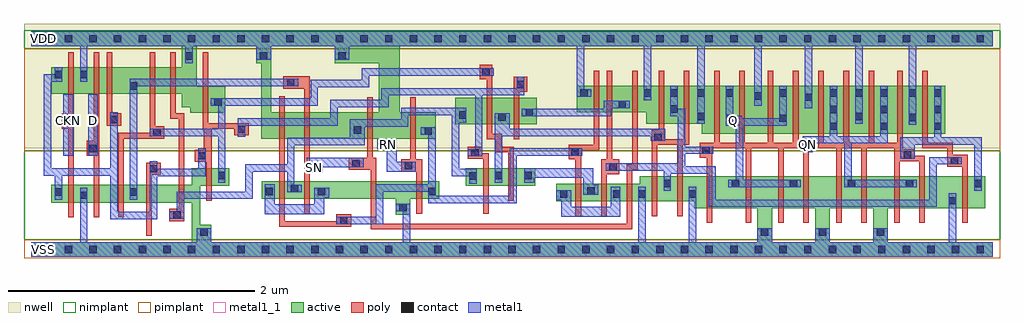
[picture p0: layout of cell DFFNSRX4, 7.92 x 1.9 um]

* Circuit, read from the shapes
.subckt DFFNSRX4 CKN D Q QN RN SN VDD VSS
M1 VSS CKN n1 VSS nfet w=0.145u l=0.045u
M2 n2 D VSS VSS nfet w=0.145u l=0.045u
M3 n3 n4 n2 VSS nfet w=0.145u l=0.045u
M4 n5 n1 n3 VSS nfet w=0.145u l=0.045u
M5 VSS n6 n5 VSS nfet w=0.145u l=0.045u
M6 n4 n1 VSS VSS nfet w=0.145u l=0.045u
M7 n6 n7 n8 VSS nfet w=0.145u l=0.045u
M8 n8 n3 n6 VSS nfet w=0.145u l=0.045u
M9 VSS SN n8 VSS nfet w=0.145u l=0.045u
M10 n7 RN VSS VSS nfet w=0.145u l=0.045u
M11 n9 n1 n6 VSS nfet w=0.145u l=0.045u
M12 n10 n4 n9 VSS nfet w=0.145u l=0.045u
M13 n10 n7 n11 VSS nfet w=0.145u l=0.045u
M14 n11 n12 n10 VSS nfet w=0.145u l=0.045u
M15 VSS SN n11 VSS nfet w=0.145u l=0.045u
M16 n12 n9 VSS VSS nfet w=0.205u l=0.045u m=2
M17 Q n12 VSS VSS nfet w=0.26u l=0.045u m=4
M18 QN n13 VSS VSS nfet w=0.26u l=0.045u m=4
M19 n13 n12 VSS VSS nfet w=0.26u l=0.045u
M20 VDD CKN n1 VDD pfet w=0.215u l=0.045u
M21 n14 D VDD VDD pfet w=0.215u l=0.045u
M22 n3 n1 n14 VDD pfet w=0.215u l=0.045u
M23 n15 n4 n3 VDD pfet w=0.215u l=0.045u
M24 VDD n6 n15 VDD pfet w=0.215u l=0.045u
M25 n4 n1 VDD VDD pfet w=0.215u l=0.045u
M26 n16 n7 VDD VDD pfet w=0.215u l=0.045u
M27 n6 n3 n16 VDD pfet w=0.215u l=0.045u
M28 VDD SN n6 VDD pfet w=0.215u l=0.045u
M29 n7 RN VDD VDD pfet w=0.215u l=0.045u
M30 n9 n4 n6 VDD pfet w=0.215u l=0.045u
M31 n17 n1 n9 VDD pfet w=0.215u l=0.045u
M32 n18 n7 VDD VDD pfet w=0.215u l=0.045u
M33 n17 n12 n18 VDD pfet w=0.215u l=0.045u
M34 VDD SN n17 VDD pfet w=0.215u l=0.045u
M35 n12 n9 VDD VDD pfet w=0.31u l=0.045u m=2
M36 Q n12 VDD VDD pfet w=0.39u l=0.045u m=4
M37 QN n13 VDD VDD pfet w=0.39u l=0.045u m=4
M38 n13 n12 VDD VDD pfet w=0.39u l=0.045u
.ends

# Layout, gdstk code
import gdstk
lib = gdstk.Library(unit=1e-6, precision=5e-10)
def R(c, l, rs):  # rectangles x0, y0, x1, y1
    for r in rs: c.add(gdstk.rectangle(r[:2], r[2:], *l))
def A(c, l, x, y, w, h, nx, ny, dx, dy):  # array of equal rectangles
    R(c, l, [(x+i*dx, y+j*dy, x+i*dx+w, y+j*dy+h) for i in range(nx) for j in range(ny)])
def P(c, l, *ps):  # polygons
    for p in ps: c.add(gdstk.Polygon(p, *l))
active = (1, 0)
nwell = (2, 0)
poly = (3, 0)
nimplant = (4, 0)
pimplant = (5, 0)
contact = (6, 0)
metal1 = (7, 0)
metal1_1 = (7, 1)

dffnsrx4 = lib.new_cell('DFFNSRX4')
R(dffnsrx4, active, [(3.525,0.515,4.09,0.66), (3.44,1.015,4.1,1.23)])
P(dffnsrx4, active, [(7.8,1.77),(2.82,1.77),(2.82,1.115),(1.945,1.115),(1.945,1.65),(2.46,1.65),(2.46,1.51),(2.82,1.51),(2.82,1.77),(0,1.77),(0,1.65),(1.22,1.65),(1.22,1.48),(0.16,1.48),(0.16,1.265),(1.22,1.265),(1.22,1.155),(1.29,1.155),(1.29,1.11),(1.575,1.11),(1.575,1.325),(1.34,1.325),(1.34,1.65),(1.825,1.65),(1.825,1.51),(1.865,1.51),(1.865,0.9),(3.28,0.9),(3.28,1.115),(2.99,1.115),(2.99,1.65),(7.8,1.65)],
  [(4.425,1.33),(7.415,1.33),(7.415,0.94),(5.44,0.94),(5.44,1.02),(4.99,1.02),(4.99,1.115),(4.425,1.115)],
  [(1.3,0.66),(1.605,0.66),(1.605,0.515),(1.37,0.515),(1.37,0.2),(1.46,0.2),(1.46,0.06),(5.89,0.06),(5.89,0.335),(6.01,0.335),(6.01,0.06),(6.36,0.06),(6.36,0.335),(6.48,0.335),(6.48,0.06),(6.83,0.06),(6.83,0.335),(5.38,0.335),(5.38,0.39),(4.26,0.39),(4.26,0.535),(4.935,0.535),(4.935,0.595),(7.74,0.595),(7.74,0.335),(6.95,0.335),(6.95,0.06),(7.8,0.06),(7.8,-0.06),(0,-0.06),(0,0.06),(1.3,0.06),(1.3,0.38),(0.16,0.38),(0.16,0.525),(1.3,0.525)],
  [(1.87,0.555),(3.31,0.555),(3.31,0.41),(3.075,0.41),(3.075,0.28),(2.955,0.28),(2.955,0.41),(1.87,0.41)])
R(dffnsrx4, nwell, [(-0.06,0.82,7.86,1.83)])
P(dffnsrx4, poly, [(0.3,1.6),(0.345,1.6),(0.345,0.26),(0.3,0.26),(0.3,0.98),(0.245,0.98),(0.245,1.1),(0.3,1.1)],
  [(0.505,1.6),(0.55,1.6),(0.55,0.26),(0.505,0.26),(0.505,0.76),(0.45,0.76),(0.45,0.88),(0.505,0.88)],
  [(0.61,1.6),(0.655,1.6),(0.655,1.105),(0.73,1.105),(0.73,1.005),(0.61,1.005)],
  [(0.96,1.6),(1.005,1.6),(1.005,1),(1.08,1),(1.08,0.9),(0.75,0.9),(0.75,0.26),(0.705,0.26),(0.705,0.945),(0.96,0.945)],
  [(1.125,1.6),(1.17,1.6),(1.17,1.105),(1.24,1.105),(1.24,0.23),(1.12,0.23),(1.12,0.33),(1.195,0.33),(1.195,1.06),(1.125,1.06)],
  [(1.39,1.6),(1.435,1.6),(1.435,1.025),(1.765,1.025),(1.765,0.925),(1.645,0.925),(1.645,0.98),(1.465,0.98),(1.465,0.395),(1.42,0.395),(1.42,0.71),(1.325,0.71),(1.325,0.81),(1.4,0.81),(1.4,0.98),(1.39,0.98)],
  [(2.045,1.405),(2.26,1.405),(2.26,0.29),(2.215,0.29),(2.215,1.305),(2.045,1.305)],
  [(2.01,1.245),(2.055,1.245),(2.055,0.23),(2.475,0.23),(2.475,0.285),(2.595,0.285),(2.595,0.185),(2.01,0.185)],
  [(2.725,1.235),(2.77,1.235),(2.77,0.745),(2.8,0.745),(2.8,0.21),(4.83,0.21),(4.83,0.69),(4.875,0.69),(4.875,1.45),(4.92,1.45),(4.92,0.645),(4.875,0.645),(4.875,0.165),(2.755,0.165),(2.755,0.645),(2.575,0.645),(2.575,0.745),(2.725,0.745)],
  [(3.64,1.5),(3.74,1.5),(3.74,0.94),(3.815,0.94),(3.815,0.835),(3.915,0.835),(3.915,0.395),(3.87,0.395),(3.87,0.79),(3.77,0.79),(3.77,0.895),(3.695,0.895),(3.695,1.38),(3.64,1.38)],
  [(3.915,1.4),(4.025,1.4),(4.025,1.28),(3.96,1.28),(3.96,0.895),(3.915,0.895)],
  [(4.565,1.45),(4.61,1.45),(4.61,0.805),(4.46,0.805),(4.46,0.27),(4.415,0.27),(4.415,0.73),(4.36,0.73),(4.36,0.85),(4.565,0.85)],
  [(4.67,1.45),(4.715,1.45),(4.715,0.73),(4.77,0.73),(4.77,0.61),(4.67,0.61),(4.67,0.27),(4.625,0.27),(4.625,0.73),(4.67,0.73)],
  [(5.09,1.45),(5.135,1.45),(5.135,0.895),(5.295,0.895),(5.295,1.45),(5.34,1.45),(5.34,0.85),(5.285,0.85),(5.285,0.27),(5.24,0.27),(5.24,0.85),(5.08,0.85),(5.08,0.27),(5.035,0.27),(5.035,0.97),(5.09,0.97)],
  [(5.54,1.45),(5.585,1.45),(5.585,0.865),(5.745,0.865),(5.745,1.45),(5.79,1.45),(5.79,0.865),(5.975,0.865),(5.975,1.45),(6.02,1.45),(6.02,0.865),(6.18,0.865),(6.18,1.45),(6.225,1.45),(6.225,0.865),(6.31,0.865),(6.31,0.215),(6.265,0.215),(6.265,0.82),(6.105,0.82),(6.105,0.215),(6.06,0.215),(6.06,0.82),(5.84,0.82),(5.84,0.215),(5.795,0.215),(5.795,0.82),(5.525,0.82),(5.525,0.215),(5.48,0.215),(5.48,0.745),(5.425,0.745),(5.425,0.865),(5.54,0.865)],
  [(6.385,1.45),(6.43,1.45),(6.43,0.865),(6.59,0.865),(6.59,1.45),(6.635,1.45),(6.635,0.865),(6.795,0.865),(6.795,1.45),(6.84,1.45),(6.84,0.865),(7.025,0.865),(7.025,1.45),(7.07,1.45),(7.07,0.815),(7.17,0.815),(7.17,0.76),(7.25,0.76),(7.25,0.215),(7.205,0.215),(7.205,0.715),(7.045,0.715),(7.045,0.215),(7,0.215),(7,0.82),(6.78,0.82),(6.78,0.215),(6.735,0.215),(6.735,0.82),(6.575,0.82),(6.575,0.215),(6.53,0.215),(6.53,0.82),(6.385,0.82)],
  [(7.23,1.45),(7.275,1.45),(7.275,0.865),(7.475,0.865),(7.475,0.77),(7.6,0.77),(7.6,0.215),(7.555,0.215),(7.555,0.67),(7.43,0.67),(7.43,0.82),(7.23,0.82)],
  [(3.075,1.235),(3.12,1.235),(3.12,0.73),(3.17,0.73),(3.17,0.29),(3.125,0.29),(3.125,0.63),(3,0.63),(3,0.73),(3.075,0.73)],
  [(3.54,0.835),(3.66,0.835),(3.66,0.78),(3.71,0.78),(3.71,0.29),(3.665,0.29),(3.665,0.735),(3.54,0.735)],
  [(0.93,0.705),(1.05,0.705),(1.05,0.605),(0.975,0.605),(0.975,0.11),(0.93,0.11)])
R(dffnsrx4, nimplant, [(-0.06,0.08,7.86,0.8), (-0.06,1.63,7.86,1.78)])
R(dffnsrx4, pimplant, [(-0.06,-0.07,7.86,0.08), (-0.06,0.8,7.86,1.63)])
A(dffnsrx4, contact, 0.07, -0.03, 0.06, 0.06, 39, 2, 0.2, 1.71)
A(dffnsrx4, contact, 5.92, 0.11, 0.06, 0.06, 3, 1, 0.47, 0)
A(dffnsrx4, contact, 5.685, 0.505, 0.06, 0.06, 4, 1, 0.47, 0)
A(dffnsrx4, contact, 7.325, 0.97, 0.06, 0.06, 1, 3, 0, 0.135)
A(dffnsrx4, contact, 6.48, 1.24, 0.06, 0.06, 3, 1, 0.205, 0)
R(dffnsrx4, contact, [(1.37,0.11,1.43,0.17), (2.505,0.205,2.565,0.265), (1.15,0.25,1.21,0.31), (2.985,0.31,3.045,0.37), (7.445,0.365,7.505,0.425), (0.395,0.41,0.455,0.47), (4.29,0.42,4.35,0.48), (4.72,0.42,4.78,0.48), (4.925,0.42,4.985,0.48), (5.335,0.42,5.395,0.48), (0.19,0.435,0.25,0.495), (0.8,0.435,0.86,0.495), (1.9,0.44,1.96,0.5), (2.325,0.44,2.385,0.5), (3.22,0.44,3.28,0.5), (4.51,0.445,4.57,0.505), (2.105,0.465,2.165,0.525), (5.13,0.505,5.19,0.565), (7.65,0.505,7.71,0.565), (3.555,0.565,3.615,0.625), (1.515,0.57,1.575,0.63), (3.76,0.57,3.82,0.63), (4,0.57,4.06,0.63), (0.96,0.625,1.02,0.685), (4.69,0.64,4.75,0.7), (3.03,0.65,3.09,0.71), (2.605,0.665,2.665,0.725), (7.46,0.69,7.52,0.75), (1.355,0.73,1.415,0.79), (7.08,0.735,7.14,0.795), (3.57,0.755,3.63,0.815), (4.38,0.76,4.44,0.82), (5.445,0.775,5.505,0.835), (0.47,0.79,0.53,0.85), (5.055,0.88,5.115,0.94), (0.99,0.92,1.05,0.98), (3.19,0.93,3.25,0.99), (2.615,0.94,2.675,1), (1.675,0.945,1.735,1.005), (6.48,0.97,6.54,1.03), (6.89,0.97,6.95,1.03), (0.265,1.01,0.325,1.07), (0.64,1.025,0.7,1.085), (5.635,1.035,5.695,1.095), (6.07,1.035,6.13,1.095), (7.12,1.04,7.18,1.1), (3.79,1.045,3.85,1.105), (5.405,1.05,5.465,1.11), (6.685,1.05,6.745,1.11), (3.47,1.06,3.53,1.12), (4.01,1.08,4.07,1.14), (6.48,1.105,6.54,1.165), (6.89,1.105,6.95,1.165), (5.185,1.11,5.245,1.17), (4.765,1.145,4.825,1.205), (1.485,1.165,1.545,1.225), (6.275,1.205,6.335,1.265), (5.865,1.215,5.925,1.275), (4.455,1.24,4.515,1.3), (4.97,1.24,5.03,1.3), (5.185,1.24,5.245,1.3), (5.405,1.24,5.465,1.3), (5.635,1.24,5.695,1.3), (6.07,1.24,6.13,1.3), (7.12,1.24,7.18,1.3), (0.8,1.295,0.86,1.355), (3.94,1.31,4,1.37), (2.075,1.325,2.135,1.385), (0.19,1.39,0.25,1.45), (0.395,1.39,0.455,1.45), (3.66,1.41,3.72,1.47), (1.25,1.54,1.31,1.6), (1.855,1.54,1.915,1.6), (2.49,1.54,2.55,1.6)])
R(dffnsrx4, metal1, [(0.26,0.76,0.34,1.26), (0.46,0.76,0.54,1.26), (1.455,1.165,1.565,1.225)])
P(dffnsrx4, metal1, [(0,1.77),(7.8,1.77),(7.8,1.65),(7.18,1.65),(7.18,1.01),(7.12,1.01),(7.12,1.65),(6.745,1.65),(6.745,1.02),(6.685,1.02),(6.685,1.65),(6.335,1.65),(6.335,1.145),(6.275,1.145),(6.275,1.65),(5.925,1.65),(5.925,1.165),(5.865,1.165),(5.865,1.65),(5.465,1.65),(5.465,1.02),(5.405,1.02),(5.405,1.65),(5.03,1.65),(5.03,1.21),(4.97,1.21),(4.97,1.65),(4.485,1.65),(4.485,1.3),(4.545,1.3),(4.545,1.24),(4.425,1.24),(4.425,1.65),(2.58,1.65),(2.58,1.54),(2.46,1.54),(2.46,1.65),(1.945,1.65),(1.945,1.54),(1.825,1.54),(1.825,1.65),(1.31,1.65),(1.31,1.51),(1.25,1.51),(1.25,1.65),(0.455,1.65),(0.455,1.36),(0.395,1.36),(0.395,1.65),(0,1.65)],
  [(0.8,1.385),(2.165,1.385),(2.165,1.325),(0.86,1.325),(0.86,0.405),(0.8,0.405)],
  [(2.68,1.47),(3.75,1.47),(3.75,1.41),(2.74,1.41),(2.74,1.315),(2.325,1.315),(2.325,1.165),(1.575,1.165),(1.575,0.54),(1.515,0.54),(1.515,0.92),(0.96,0.92),(0.96,0.98),(1.515,0.98),(1.515,1.225),(2.265,1.225),(2.265,1.375),(2.68,1.375)],
  [(0.19,1.48),(0.25,1.48),(0.25,1.36),(0.16,1.36),(0.16,0.66),(0.64,0.66),(0.64,1.115),(0.7,1.115),(0.7,0.305),(0.96,0.305),(0.96,0.715),(1.02,0.715),(1.02,0.655),(1.355,0.655),(1.355,0.82),(1.415,0.82),(1.415,0.595),(1.02,0.595),(1.02,0.245),(0.64,0.245),(0.64,0.6),(0.25,0.6),(0.25,0.405),(0.19,0.405),(0.19,0.6),(0.1,0.6),(0.1,1.42),(0.19,1.42)],
  [(3.94,1.4),(4,1.4),(4,1.25),(3.66,1.25),(3.66,0.755),(3.54,0.755),(3.54,0.815),(3.6,0.815),(3.6,1.25),(2.9,1.25),(2.9,1.155),(2.485,1.155),(2.485,1.005),(1.735,1.005),(1.735,0.915),(1.675,0.915),(1.675,1.065),(2.425,1.065),(2.425,1.215),(2.84,1.215),(2.84,1.31),(3.94,1.31)],
  [(0.395,0.5),(0.455,0.5),(0.455,0.06),(1.34,0.06),(1.34,0.17),(1.46,0.17),(1.46,0.06),(3.015,0.06),(3.015,0.31),(2.955,0.31),(2.955,0.37),(3.075,0.37),(3.075,0.06),(4.925,0.06),(4.925,0.51),(4.985,0.51),(4.985,0.06),(5.335,0.06),(5.335,0.51),(5.395,0.51),(5.395,0.06),(5.89,0.06),(5.89,0.17),(6.01,0.17),(6.01,0.06),(6.36,0.06),(6.36,0.17),(6.48,0.17),(6.48,0.06),(6.83,0.06),(6.83,0.17),(6.95,0.17),(6.95,0.06),(7.445,0.06),(7.445,0.455),(7.505,0.455),(7.505,0.06),(7.8,0.06),(7.8,-0.06),(0,-0.06),(0,0.06),(0.395,0.06)],
  [(3,1.15),(3.53,1.15),(3.53,1.03),(3.47,1.03),(3.47,0.655),(3.615,0.655),(3.615,0.535),(3.555,0.535),(3.555,0.595),(3.41,0.595),(3.41,1.09),(3.06,1.09),(3.06,0.995),(2.705,0.995),(2.705,0.845),(2.135,0.845),(2.135,0.525),(2.195,0.525),(2.195,0.465),(2.075,0.465),(2.075,0.63),(1.795,0.63),(1.795,0.41),(1.24,0.41),(1.24,0.25),(1.12,0.25),(1.12,0.31),(1.18,0.31),(1.18,0.47),(1.735,0.47),(1.735,0.69),(2.075,0.69),(2.075,0.905),(2.585,0.905),(2.585,1.055),(3,1.055)],
  [(3.16,0.99),(3.28,0.99),(3.28,0.435),(3.88,0.435),(3.88,0.82),(4.47,0.82),(4.47,0.76),(3.94,0.76),(3.94,0.375),(3.22,0.375),(3.22,0.47),(2.855,0.47),(2.855,0.205),(2.475,0.205),(2.475,0.265),(2.795,0.265),(2.795,0.53),(3.22,0.53),(3.22,0.93),(3.16,0.93)],
  [(2.805,0.895),(2.965,0.895),(2.965,0.71),(3.12,0.71),(3.12,0.63),(2.885,0.63),(2.885,0.815),(2.805,0.815)],
  [(1.895,0.53),(1.975,0.53),(1.975,0.365),(2.295,0.365),(2.295,0.5),(2.415,0.5),(2.415,0.42),(2.375,0.42),(2.375,0.285),(1.895,0.285)],
  [(2.235,0.745),(2.695,0.745),(2.695,0.665),(2.365,0.665),(2.365,0.625),(2.235,0.625)],
  [(4.645,1.205),(4.855,1.205),(4.855,1.145),(4.705,1.145),(4.705,1.08),(3.98,1.08),(3.98,1.14),(4.645,1.14)],
  [(3.76,1.105),(3.88,1.105),(3.88,0.98),(5.145,0.98),(5.145,0.88),(5.025,0.88),(5.025,0.92),(3.82,0.92),(3.82,0.54),(3.76,0.54)],
  [(5.185,1.33),(5.245,1.33),(5.245,1.14),(5.305,1.14),(5.305,0.835),(5.535,0.835),(5.535,0.775),(5.305,0.775),(5.305,0.675),(5.555,0.675),(5.555,0.405),(7.285,0.405),(7.285,0.75),(7.55,0.75),(7.55,0.69),(7.345,0.69),(7.345,0.345),(5.495,0.345),(5.495,0.615),(5.19,0.615),(5.19,0.475),(5.13,0.475),(5.13,0.64),(4.66,0.64),(4.66,0.7),(5.245,0.7),(5.245,1.08),(5.185,1.08)],
  [(5.635,1.33),(5.695,1.33),(5.695,1.085),(5.765,1.085),(5.765,1.065),(6.07,1.065),(6.07,1.33),(6.13,1.33),(6.13,1.005),(5.775,1.005),(5.775,0.565),(6.245,0.565),(6.245,0.505),(5.655,0.505),(5.655,0.565),(5.715,0.565),(5.715,1.005),(5.635,1.005)],
  [(6.48,1.33),(6.54,1.33),(6.54,0.92),(6.89,0.92),(6.89,1.33),(6.95,1.33),(6.95,0.86),(6.655,0.86),(6.655,0.565),(7.185,0.565),(7.185,0.505),(6.595,0.505),(6.595,0.86),(6.34,0.86),(6.34,0.79),(6.26,0.79),(6.26,0.92),(6.48,0.92)],
  [(7.325,1.33),(7.385,1.33),(7.385,0.91),(7.71,0.91),(7.71,0.475),(7.65,0.475),(7.65,0.85),(7.17,0.85),(7.17,0.735),(7.05,0.735),(7.05,0.91),(7.325,0.91)],
  [(4,0.66),(4.56,0.66),(4.56,0.525),(4.6,0.525),(4.6,0.445),(4.48,0.445),(4.48,0.58),(4.08,0.58),(4.08,0.54),(4,0.54)],
  [(4.26,0.48),(4.38,0.48),(4.38,0.345),(4.7,0.345),(4.7,0.51),(4.78,0.51),(4.78,0.265),(4.3,0.265),(4.3,0.4),(4.26,0.4)])
R(dffnsrx4, metal1_1, [(0.06,-0.04,0.14,0.04), (2.26,0.625,2.34,0.705), (2.86,0.815,2.94,0.895), (6.26,0.815,6.34,0.895), (0.26,1.005,0.34,1.085), (0.46,1.005,0.54,1.085), (5.66,1.005,5.74,1.085), (0.06,1.67,0.14,1.75)])
dffnsrx4.add(gdstk.Label('QN', (6.3,0.855), layer=7, texttype=1))
dffnsrx4.add(gdstk.Label('Q', (5.7,1.045), layer=7, texttype=1))
dffnsrx4.add(gdstk.Label('RN', (2.9,0.855), layer=7, texttype=1))
dffnsrx4.add(gdstk.Label('SN', (2.3,0.665), layer=7, texttype=1))
dffnsrx4.add(gdstk.Label('D', (0.5,1.045), layer=7, texttype=1))
dffnsrx4.add(gdstk.Label('CKN', (0.3,1.045), layer=7, texttype=1))
dffnsrx4.add(gdstk.Label('VDD', (0.1,1.71), layer=7, texttype=1))
dffnsrx4.add(gdstk.Label('VSS', (0.1,0), layer=7, texttype=1))
dffnsrx4.add(gdstk.Label('DFFNSRX4', (0,0), layer=63, texttype=0))

lib.write_gds('DFFNSRX4.gds')
